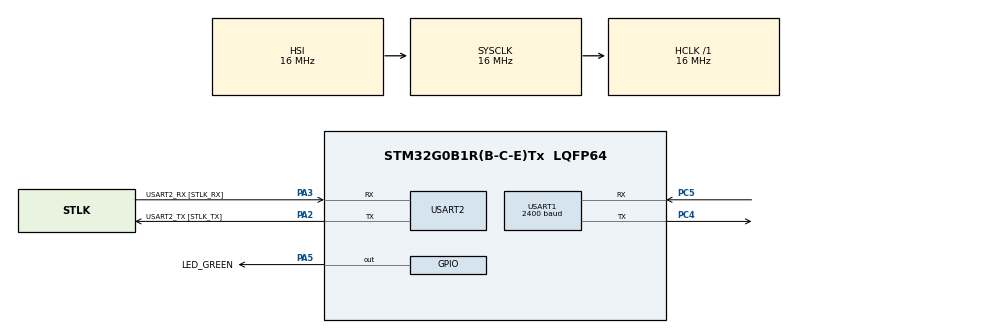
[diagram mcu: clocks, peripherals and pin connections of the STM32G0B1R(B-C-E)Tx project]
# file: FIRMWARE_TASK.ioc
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Mcu.Family=STM32G0
Mcu.Name=STM32G0B1R(B-C-E)Tx
Mcu.Package=LQFP64
NVIC.USART1_IRQn=true\:0\:0\:false\:false\:true\:true\:true\:true
PA13.GPIO_Label=TMS
PA13.Mode=Serial_Wire
PA13.Signal=SYS_SWDIO
PA14-BOOT0.GPIO_Label=TCK
PA14-BOOT0.Mode=Serial_Wire
PA14-BOOT0.Signal=SYS_SWCLK
PA2.GPIO_Label=USART2_TX [STLK_TX]
PA2.Mode=Asynchronous
PA2.Signal=USART2_TX
PA3.GPIO_Label=USART2_RX [STLK_RX]
PA3.Mode=Asynchronous
PA3.Signal=USART2_RX
PA5.GPIO_Label=LED_GREEN
PA5.GPIO_Speed=GPIO_SPEED_FREQ_HIGH
PA5.Signal=GPIO_Output
PC13.Mode=SYS_WakeUp1
PC13.Signal=SYS_WKUP2
PC14-OSC32_IN\ (PC14).Mode=LSE-External-Oscillator
PC14-OSC32_IN\ (PC14).Signal=RCC_OSC32_IN
PC15-OSC32_OUT\ (PC15).Mode=LSE-External-Oscillator
PC15-OSC32_OUT\ (PC15).Signal=RCC_OSC32_OUT
PC4.Mode=Asynchronous
PC4.Signal=USART1_TX
PC5.Mode=Asynchronous
PC5.Signal=USART1_RX
PF0-OSC_IN\ (PF0).GPIO_Label=MCO
PF0-OSC_IN\ (PF0).Mode=HSE-External-Clock-Source
PF0-OSC_IN\ (PF0).Signal=RCC_OSC_IN
ProjectManager.HeapSize=0x200
ProjectManager.StackSize=0x400
ProjectManager.TargetToolchain=STM32CubeIDE
RCC.AHBFreq_Value=16000000
RCC.CortexFreq_Value=16000000
RCC.EXTERNAL_CLOCK_VALUE=12288000
RCC.HCLKFreq_Value=16000000
RCC.HSE_VALUE=8000000
RCC.HSI48_VALUE=48000000
RCC.HSI_VALUE=16000000
RCC.SYSCLKFreq_VALUE=16000000
RCC.USBFreq_Value=48000000
RCC.VCOOutputFreq_Value=128000000
USART1.BaudRate=2400
USART1.VirtualMode-Asynchronous=VM_ASYNC
USART2.VirtualMode-Asynchronous=VM_ASYNC
board=NUCLEO-G0B1RE

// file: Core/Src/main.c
/* USER CODE BEGIN Header */
/**
  ******************************************************************************
  * @file           : main.c
  * @brief          : Main program body
  ******************************************************************************
  * @attention
  *
  * Copyright (c) 2024 STMicroelectronics.
  * All rights reserved.
  *
  * This software is licensed under terms that can be found in the LICENSE file
  * in the root directory of this software component.
  * If no LICENSE file comes with this software, it is provided AS-IS.
  *
  ******************************************************************************
  */
/* USER CODE END Header */
#include "main.h"

/* USER CODE BEGIN Includes */
#include "stm32g0xx_hal_flash.h"
#define RX_BUFFER_SIZE 1000
#define EEPROM_EMULATION_ADDRESS (0x0801F800)
#define DOUBLE_WORD_SIZE 8
/* USER CODE END Includes */

UART_HandleTypeDef huart1;
UART_HandleTypeDef huart2;

/* USER CODE BEGIN PV */
uint8_t RxBuffer[RX_BUFFER_SIZE];
uint32_t RxIndex = 0;
uint64_t DoubleWordBuffer = 0; // Buffer to accumulate data for double word programming
uint8_t DoubleWordBufferIndex = 0;

/* USER CODE END PV */

void SystemClock_Config(void);
static void MX_GPIO_Init(void);
static void MX_USART2_UART_Init(void);
static void MX_USART1_UART_Init(void);
void HAL_UART_RxCpltCallback(UART_HandleTypeDef *huart);

/* USER CODE BEGIN 0 */

void EEPROM_WRITE(uint32_t address, uint64_t data) {
    uint32_t writeAddress = EEPROM_EMULATION_ADDRESS + address * DOUBLE_WORD_SIZE;
    HAL_FLASH_Unlock();
    HAL_FLASH_Program(FLASH_TYPEPROGRAM_FAST, writeAddress, data);

    HAL_FLASH_Lock();
}
void EEPROM_Read(uint32_t address, uint8_t *data, uint32_t length) {
    uint32_t readAddress = EEPROM_EMULATION_ADDRESS + address * DOUBLE_WORD_SIZE;
    for (uint32_t i = 0; i < length; i += DOUBLE_WORD_SIZE) {
        uint64_t tempData = *(uint64_t *)(readAddress + i);
        uint32_t bytesToCopy = (i + DOUBLE_WORD_SIZE > length) ? length % DOUBLE_WORD_SIZE : DOUBLE_WORD_SIZE;
        memcpy(&data[i], &tempData, bytesToCopy);
    }
}
void BufferAndWriteEEPROM(uint8_t data) {
    ((uint8_t*)&DoubleWordBuffer)[DoubleWordBufferIndex++] = data;
    if (DoubleWordBufferIndex == DOUBLE_WORD_SIZE) {
        EEPROM_WRITE(RxIndex / DOUBLE_WORD_SIZE, DoubleWordBuffer);
        DoubleWordBuffer = 0;
        DoubleWordBufferIndex = 0;
    }
}

void HAL_UART_RxCpltCallback(UART_HandleTypeDef *huart) {
    if (huart->Instance == USART1) {
        if (RxIndex < RX_BUFFER_SIZE) {
            BufferAndWriteEEPROM(RxBuffer[RxIndex]);
            RxIndex++;

            if (RxIndex == RX_BUFFER_SIZE) {

                if (DoubleWordBufferIndex > 0) {
                    EEPROM_WRITE(RxIndex / DOUBLE_WORD_SIZE, DoubleWordBuffer);
                }
                TransmitBack();
            } else {
                HAL_UART_Receive_IT(&huart1, &RxBuffer[RxIndex], 1);
            }
        }
    }
}

void TransmitBack(void) {
    uint8_t dataToTransmit[RX_BUFFER_SIZE];
    EEPROM_Read(0, dataToTransmit, RX_BUFFER_SIZE);
    HAL_UART_Transmit(&huart1, dataToTransmit, RX_BUFFER_SIZE, HAL_MAX_DELAY);
}
/* USER CODE END 0 */

int main(void)
{

  /* MCU Configuration--------------------------------------------------------*/

  /* Reset of all peripherals, Initializes the Flash interface and the Systick. */
  HAL_Init();

  /* Configure the system clock */
  SystemClock_Config();

  /* Initialize all configured peripherals */
  MX_GPIO_Init();
  MX_USART2_UART_Init();
  MX_USART1_UART_Init();
  /* USER CODE BEGIN 2 */
  HAL_UART_Receive_IT(&huart1, &RxBuffer[RxIndex], 1);
  /* USER CODE END 2 */

  /* Infinite loop */
  while (1)
  {

  }
}

void SystemClock_Config(void)
{
  RCC_OscInitTypeDef RCC_OscInitStruct = {0};
  RCC_ClkInitTypeDef RCC_ClkInitStruct = {0};

  /** Configure the main internal regulator output voltage
  */
  HAL_PWREx_ControlVoltageScaling(PWR_REGULATOR_VOLTAGE_SCALE1);

  /** Initializes the RCC Oscillators according to the specified parameters
  * in the RCC_OscInitTypeDef structure.
  */
  RCC_OscInitStruct.OscillatorType = RCC_OSCILLATORTYPE_HSI;
  RCC_OscInitStruct.HSIState = RCC_HSI_ON;
  RCC_OscInitStruct.HSIDiv = RCC_HSI_DIV1;
  RCC_OscInitStruct.HSICalibrationValue = RCC_HSICALIBRATION_DEFAULT;
  RCC_OscInitStruct.PLL.PLLState = RCC_PLL_NONE;
  if (HAL_RCC_OscConfig(&RCC_OscInitStruct) != HAL_OK)
  {
    Error_Handler();
  }

  /** Initializes the CPU, AHB and APB buses clocks
  */
  RCC_ClkInitStruct.ClockType = RCC_CLOCKTYPE_HCLK|RCC_CLOCKTYPE_SYSCLK
                              |RCC_CLOCKTYPE_PCLK1;
  RCC_ClkInitStruct.SYSCLKSource = RCC_SYSCLKSOURCE_HSI;
  RCC_ClkInitStruct.AHBCLKDivider = RCC_SYSCLK_DIV1;
  RCC_ClkInitStruct.APB1CLKDivider = RCC_HCLK_DIV1;

  if (HAL_RCC_ClockConfig(&RCC_ClkInitStruct, FLASH_LATENCY_0) != HAL_OK)
  {
    Error_Handler();
  }
}

static void MX_USART1_UART_Init(void)
{

  huart1.Instance = USART1;
  huart1.Init.BaudRate = 2400;
  huart1.Init.WordLength = UART_WORDLENGTH_8B;
  huart1.Init.StopBits = UART_STOPBITS_1;
  huart1.Init.Parity = UART_PARITY_NONE;
  huart1.Init.Mode = UART_MODE_TX_RX;
  huart1.Init.HwFlowCtl = UART_HWCONTROL_NONE;
  huart1.Init.OverSampling = UART_OVERSAMPLING_16;
  huart1.Init.OneBitSampling = UART_ONE_BIT_SAMPLE_DISABLE;
  huart1.Init.ClockPrescaler = UART_PRESCALER_DIV1;
  huart1.AdvancedInit.AdvFeatureInit = UART_ADVFEATURE_NO_INIT;
  if (HAL_UART_Init(&huart1) != HAL_OK)
  {
    Error_Handler();
  }
  if (HAL_UARTEx_SetTxFifoThreshold(&huart1, UART_TXFIFO_THRESHOLD_1_8) != HAL_OK)
  {
    Error_Handler();
  }
  if (HAL_UARTEx_SetRxFifoThreshold(&huart1, UART_RXFIFO_THRESHOLD_1_8) != HAL_OK)
  {
    Error_Handler();
  }
  if (HAL_UARTEx_DisableFifoMode(&huart1) != HAL_OK)
  {
    Error_Handler();
  }

}

static void MX_USART2_UART_Init(void)
{

  huart2.Instance = USART2;
  huart2.Init.BaudRate = 115200;
  huart2.Init.WordLength = UART_WORDLENGTH_8B;
  huart2.Init.StopBits = UART_STOPBITS_1;
  huart2.Init.Parity = UART_PARITY_NONE;
  huart2.Init.Mode = UART_MODE_TX_RX;
  huart2.Init.HwFlowCtl = UART_HWCONTROL_NONE;
  huart2.Init.OverSampling = UART_OVERSAMPLING_16;
  huart2.Init.OneBitSampling = UART_ONE_BIT_SAMPLE_DISABLE;
  huart2.Init.ClockPrescaler = UART_PRESCALER_DIV1;
  huart2.AdvancedInit.AdvFeatureInit = UART_ADVFEATURE_NO_INIT;
  if (HAL_UART_Init(&huart2) != HAL_OK)
  {
    Error_Handler();
  }
  if (HAL_UARTEx_SetTxFifoThreshold(&huart2, UART_TXFIFO_THRESHOLD_1_8) != HAL_OK)
  {
    Error_Handler();
  }
  if (HAL_UARTEx_SetRxFifoThreshold(&huart2, UART_RXFIFO_THRESHOLD_1_8) != HAL_OK)
  {
    Error_Handler();
  }
  if (HAL_UARTEx_DisableFifoMode(&huart2) != HAL_OK)
  {
    Error_Handler();
  }

}

static void MX_GPIO_Init(void)
{
  GPIO_InitTypeDef GPIO_InitStruct = {0};

  /* GPIO Ports Clock Enable */
  __HAL_RCC_GPIOC_CLK_ENABLE();
  __HAL_RCC_GPIOF_CLK_ENABLE();
  __HAL_RCC_GPIOA_CLK_ENABLE();

  /*Configure GPIO pin Output Level */
  HAL_GPIO_WritePin(LED_GREEN_GPIO_Port, LED_GREEN_Pin, GPIO_PIN_RESET);

  /*Configure GPIO pin : LED_GREEN_Pin */
  GPIO_InitStruct.Pin = LED_GREEN_Pin;
  GPIO_InitStruct.Mode = GPIO_MODE_OUTPUT_PP;
  GPIO_InitStruct.Pull = GPIO_NOPULL;
  GPIO_InitStruct.Speed = GPIO_SPEED_FREQ_HIGH;
  HAL_GPIO_Init(LED_GREEN_GPIO_Port, &GPIO_InitStruct);

}

void Error_Handler(void)
{
  __disable_irq();
  while (1)
  {
  }
}
